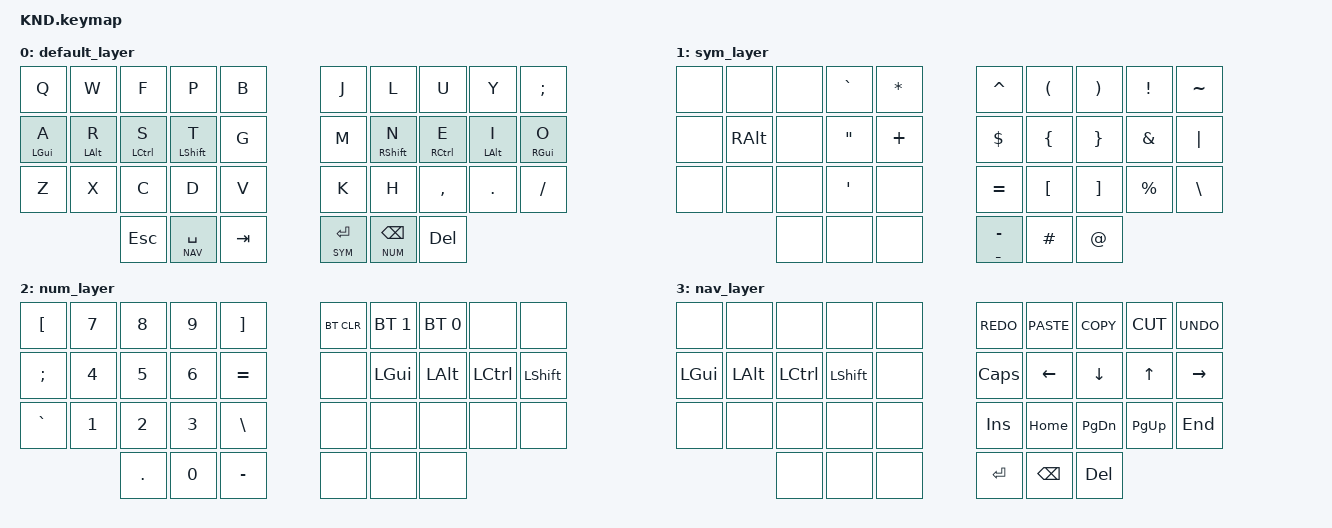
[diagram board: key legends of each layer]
// Copyright (c) 2022 The ZMK Contributors
// SPDX-License-Identifier: MIT

#include <behaviors.dtsi>
#include <dt-bindings/zmk/keys.h>
#include <dt-bindings/zmk/bt.h>
#include <dt-bindings/zmk/outputs.h>

#define DEF 0
#define SYM 1
#define NUM 2
#define NAV 3



&caps_word {
    continue-list = <ESC>;
};



/ {
    
// ╭──────────────╮ ╭──────────────╮
// │ 0  1  2  3  4│ │ 5  6  7  8  9│
// │10 11 12 13 14│ │15 16 17 18 19│
// │20 21 22 23 24│ │25 26 27 28 29│
// ╰─────╮30 31 32│ │33 34 35╭─────╯
//       ╰────────╯ ╰────────╯

    combos {
        compatible = "zmk,combos";

        combo_caps {
            layers = <0>;
            timeout-ms = <75>;
            require-prior-idle-ms = <100>;
            key-positions = <14 15>;
            bindings = <&caps_word>;
        };
    };

    behaviors {
        ht: hold_tap {
            compatible = "zmk,behavior-hold-tap";
            #binding-cells = <2>;
            flavor = "tap-preferred";
            tapping-term-ms = <200>;
            require-prior-idle-ms = <175>;
            bindings = <&kp>, <&kp>;
        };

        lp: layer_press {
            compatible = "zmk,behavior-hold-tap";
            #binding-cells = <2>;
            flavor = "hold-preferred";
            tapping-term-ms = <200>;
            require-prior-idle-ms = <125>;
            // retro-tap;
            bindings = <&mo>, <&kp>;
        };

        mp: mod_press {
            compatible = "zmk,behavior-hold-tap";
            #binding-cells = <2>;
            flavor = "tap-preferred";
            tapping-term-ms = <200>;
            require-prior-idle-ms = <125>;
            bindings = <&kp>, <&kp>;
        };

        cs: ctrl_shift {
            compatible = "zmk,behavior-tap-dance";
            #binding-cells = <0>;
            tapping-term-ms = <200>;
            bindings = <&kp LCTRL>, <&kp LC(LSHFT)>;
        };
    };

    keymap {
        compatible = "zmk,keymap";
        default_layer {
            bindings = <
        //╭──────────┬──────────┬──────────┬──────────┬──────────╮          ╭──────────┬──────────┬──────────┬──────────┬──────────╮
        //│  Q       │  W       │  F       │  P       │  B       │          │  J       │  L       │  U       │  Y       │  ;       │
            &kp Q      &kp W      &kp F      &kp P      &kp B                 &kp J      &kp L      &kp U      &kp Y      &kp SEMI
        //├──────────┼──────────┼──────────┼──────────┼──────────┤          ├──────────┼──────────┼──────────┼──────────┼──────────┤
        //│  A       │  R       │  S       │  T       │  G       │          │  M       │  N       │  E       │  I       │   O      │
           &ht LGUI A &ht LALT R &ht LCTRL S &ht LSHFT T &kp G                &kp M    &ht RSHFT N &ht RCTRL E &ht LALT I &ht RGUI O
        //├──────────┼──────────┼──────────┼──────────┼──────────┤          ├──────────┼──────────┼──────────┼──────────┼──────────┤
        //│  Z       │  X       │  C       │  D       │  V       │          │  K       │  H       │ , <      │ . >      │ / ?      │
            &kp Z      &kp X      &kp C      &kp D      &kp V                 &kp K      &kp H      &kp COMMA  &kp DOT    &kp FSLH
        //╰──────────┴──────────┴──────────┼──────────┼──────────┤          ├──────────┼──────────┼──────────┴──────────┴──────────╯
                                  &kp ESC    &lp NAV SPACE &kp TAB          &lp SYM RET  &lp NUM BSPC &kp DEL
        //                      ╰──────────┴──────────┴──────────╯          ╰──────────┴──────────┴──────────╯
        >;
        };

        sym_layer {
            bindings = <
        //╭──────────┬──────────┬──────────┬──────────┬──────────╮          ╭──────────┬──────────┬──────────┬──────────┬──────────╮
        //│          │          │          │    `     │          │          │    ^     │    (     │    )     │    !     │    ~     │
            &none      &none      &none      &kp GRAVE  &kp STAR              &kp CARET  &kp LPAR   &kp RPAR   &kp EXCL   &kp TILDE
        //├──────────┼──────────┼──────────┼──────────┼──────────┤          ├──────────┼──────────┼──────────┼──────────┼──────────┤
        //│          │          │          │    "     │          │          │    $     │    {     │    }     │    &     │    |     │
            &none      &kp RALT   &none      &kp DQT    &kp PLUS              &kp DLLR   &kp LBRC   &kp RBRC   &kp AMPS   &kp PIPE
        //├──────────┼──────────┼──────────┼──────────┼──────────┤          ├──────────┼──────────┼──────────┼──────────┼──────────┤
        //│          │          │          │    '     │          │          │    =     │    [     │    ]     │    %     │    \     │
            &none      &none      &none      &kp SQT    &none                 &kp EQUAL  &kp LBKT   &kp RBKT   &kp PRCNT  &kp BSLH
        //╰──────────┴──────────┴──────────┼──────────┼──────────┤          ├──────────┼──────────┼──────────┴──────────┴──────────╯
        //                      │          │          │          │          │    -_    │    #     │    @     │ 
                                  &none      &none      &none            &mp UNDER MINUS &kp HASH   &kp AT
        //                      ╰──────────┴──────────┴──────────╯          ╰──────────┴──────────┴──────────╯
            >;
        };

        num_layer {
            bindings = <
        //╭──────────┬──────────┬──────────┬──────────┬──────────╮          ╭──────────┬──────────┬──────────┬──────────┬──────────╮
        //│     [    │    7     │    8     │    9     │    ]     │          │          │          │          │          │          │
          &kp LBKT    &kp N7      &kp N8      &kp N9   &kp RBKT              &bt BT_CLR  &bt BT_SEL 1 &bt BT_SEL 0  &none   &none
        //├──────────┼──────────┼──────────┼──────────┼──────────┤          ├──────────┼──────────┼──────────┼──────────┼──────────┤
        //│    ;     │    4     │    5     │    6     │     =    │          │          │          │          │          │          │
          &kp SEMI    &kp N4      &kp N5      &kp N6     &kp EQUAL              &none    &kp LGUI   &kp LALT   &kp LCTRL  &kp LSHFT
        //├──────────┼──────────┼──────────┼──────────┼──────────┤          ├──────────┼──────────┼──────────┼──────────┼──────────┤
        //│    `     │    1     │    2     │    3     │     \    │          │          │          │          │          │          │
            &kp GRAVE   &kp N1      &kp N2      &kp N3  &kp BSLH                &none      &none      &none      &none      &none
        //╰──────────┴──────────┴──────────┼──────────┼──────────┤          ├──────────┼──────────┼──────────┴──────────┴──────────╯
        //│          │          │    .      │    0     │     -   │          │          │          │          │          │          │
                                  &kp DOT      &kp N0   &kp MINUS               &none      &none      &none
        //                      ╰──────────┴──────────┴──────────╯          ╰──────────┴──────────┴──────────╯
            >;
        };

        nav_layer {
            bindings = <
        //╭──────────┬──────────┬──────────┬──────────┬──────────╮          ╭──────────┬──────────┬──────────┬──────────┬──────────╮
        //│          │          │          │          │          │          │          │          │          │          │          │
            &none         &none      &none      &none      &none              &kp K_REDO  &kp K_PASTE &kp K_COPY &kp K_CUT &kp K_UNDO
        //├──────────┼──────────┼──────────┼──────────┼──────────┤          ├──────────┼──────────┼──────────┼──────────┼──────────┤
        //│          │          │          │          │          │          │          │          │          │          │          │
            &kp LGUI   &kp LALT   &kp LCTRL   &kp LSHFT   &none               &kp CAPSLOCK &kp LEFT   &kp DOWN   &kp UP  &kp RIGHT
        //├──────────┼──────────┼──────────┼──────────┼──────────┤          ├──────────┼──────────┼──────────┼──────────┼──────────┤
        //│          │          │          │          │          │          │          │          │          │          │          │
            &none        &none      &none      &none      &none              &kp INSERT   &kp HOME   &kp PG_DN  &kp PG_UP  &kp END
        //╰──────────┴──────────┴──────────┼──────────┼──────────┤          ├──────────┼──────────┼──────────┴──────────┴──────────╯
                                    &none      &none      &none                &kp RET   &kp BSPC   &kp DEL
        //                      ╰──────────┴──────────┴──────────╯          ╰──────────┴──────────┴──────────╯
            >;
        };

    };
};
